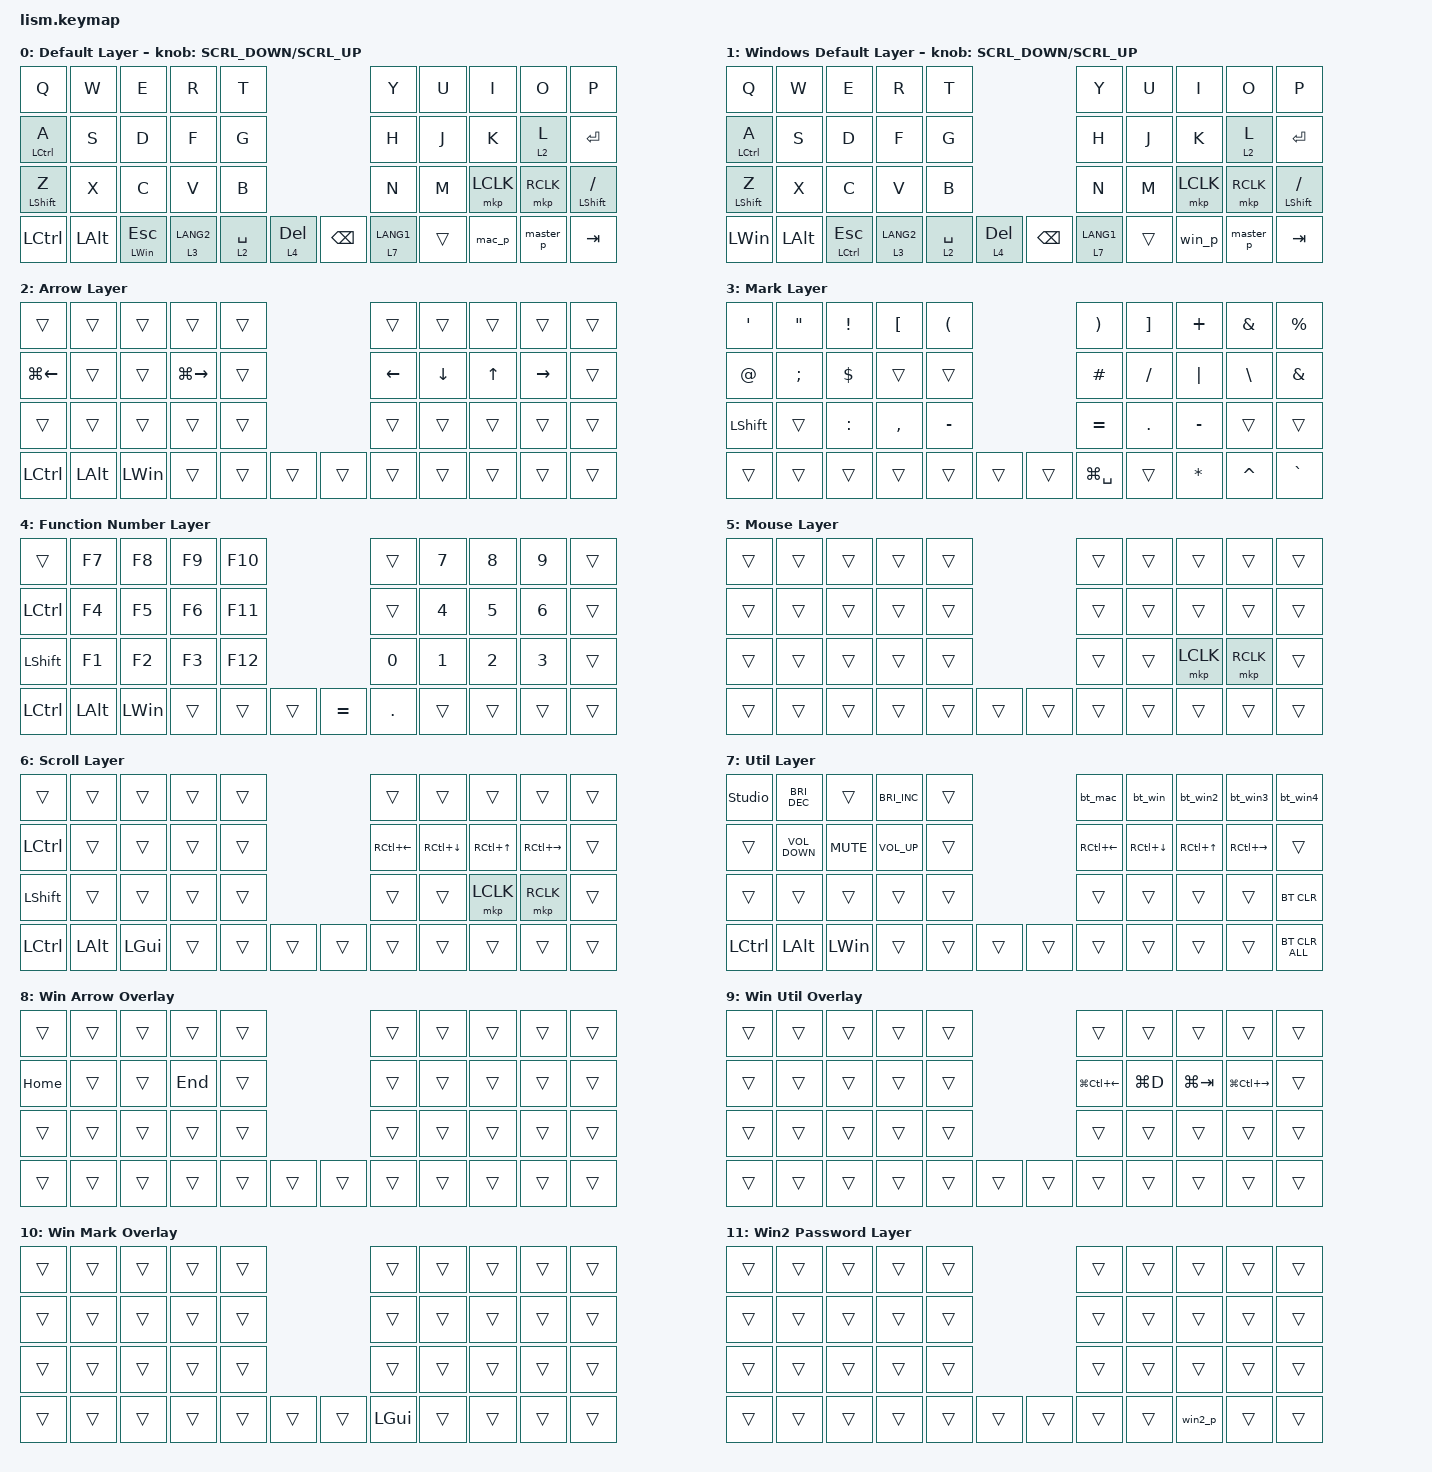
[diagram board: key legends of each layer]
#define ZMK_POINTING_DEFAULT_MOVE_VAL 400
#define ZMK_POINTING_DEFAULT_SCRL_VAL 200

#include <dt-bindings/zmk/mouse.h>
#include <behaviors.dtsi>
#include <dt-bindings/zmk/bt.h>
#include <dt-bindings/zmk/keys.h>
#include <dt-bindings/zmk/pointing.h>

#define DEFAULT_LAYER 0
#define WIN_DEFAULT_LAYER 1
#define ARROW_LAYER 2
#define MARK_LAYER 3
#define FUNCTION_NUMBER_LAYER 4
#define MOUSE_LAYER 5
#define SCROLL_LAYER 6
#define UTIL_LAYER 7
#define WIN_ARROW_OVERLAY 8
#define WIN_UTIL_OVERLAY 9
#define WIN_MARK_OVERLAY 10

&mt { flavor = "balanced"; };

&mmv { time-to-max-speed-ms = <40>; };

/ {
    conditional_layers {
        compatible = "zmk,conditional-layers";

        win_arrow_overlay {
            if-layers = <1 2>;
            then-layer = <8>;
        };

        win_util_overlay {
            if-layers = <1 7>;
            then-layer = <9>;
        };

        win_mark_overlay {
            if-layers = <1 3>;
            then-layer = <10>;
        };
    };

    combos {
        compatible = "zmk,combos";
        layers = <0 1 2 3 4 5 6 7 8 9 10 11>;

        tab {
            bindings = <&kp TAB>;
            key-positions = <11 12>;
        };

        shift_tab {
            bindings = <&kp LS(TAB)>;
            key-positions = <1 2>;
        };

        minus {
            bindings = <&kp MINUS>;
            key-positions = <2 3>;
        };

        plus {
            bindings = <&kp PLUS>;
            key-positions = <6 7>;
        };

        asterisk {
            bindings = <&kp ASTERISK>;
            key-positions = <12 13>;
        };

        slash {
            bindings = <&kp SLASH>;
            key-positions = <16 17>;
        };

        homerow-click {
            bindings = <&kp LS(LC(LG(SPACE)))>;
            key-positions = <14 15>;
        };

        homerow-scroll {
            bindings = <&kp LS(LC(LG(LA(SPACE))))>;
            key-positions = <4 5>;
        };

        amical {
            bindings = <&kp LS(LG(SPACE))>;
            key-positions = <24 25>;
        };
    };

    macros {
        emoji: emoji_macro {
            compatible = "zmk,behavior-macro";
            label = "EMOJI";
            #binding-cells = <0>;
            bindings =
                <&macro_press>,
                <&kp CAPSLOCK>,
                <&macro_tap>,
                <&kp E>,
                <&macro_release>,
                <&kp CAPSLOCK>;
        };

        to_layer_0: to_layer_0 {
            compatible = "zmk,behavior-macro-one-param";
            #binding-cells = <1>;
            bindings = <&to 0 &macro_param_1to1 &kp MACRO_PLACEHOLDER>;
            label = "TO_LAYER_0";
        };

        screenshot: screenshot {
            compatible = "zmk,behavior-macro";
            #binding-cells = <0>;
            bindings = <&kp LG(LS(NUMBER_5))>;
            label = "SCREENSHOT";
        };

        master_p: master_p {
            compatible = "zmk,behavior-macro";
            #binding-cells = <0>;
            bindings = <&kp J &kp F &kp J &kp F &kp H &kp G &kp H &kp G &kp UNDER &kp Y &kp U &kp H &kp G &kp O &kp UNDER &kp N0 &kp N9 &kp N0 &kp N7 &kp UNDER &kp N2 &kp N5 &kp N2 &kp N5>;
            label = "MASTER_P";
        };

        mac_p: mac_p {
            compatible = "zmk,behavior-macro";
            #binding-cells = <0>;
            bindings = <&kp J &kp F &kp J &kp F &kp H &kp G &kp H &kp G>;
            label = "MAC_P";
        };

        presentify: presentify {
            compatible = "zmk,behavior-macro";
            #binding-cells = <0>;
            bindings = <&kp LS(LA(LC(LG(O))))>;
            label = "PRESENTIFY";
        };

        browser_back: browser_back {
            compatible = "zmk,behavior-macro";
            #binding-cells = <0>;
            bindings = <&kp LG(LEFT)>;
            label = "BROWSER_BACK";
        };

        browser_next: browser_next {
            compatible = "zmk,behavior-macro";
            #binding-cells = <0>;
            bindings = <&kp LG(RIGHT)>;
            label = "BROWSER_NEXT";
        };

        bt_mac: bt_mac {
            compatible = "zmk,behavior-macro";
            #binding-cells = <0>;
            bindings = <&toggle_off 1 &toggle_off 11>, <&macro_wait_time 100>, <&bt BT_SEL 0>;

            label = "BT_MAC";
        };

        bt_win: bt_win {
            compatible = "zmk,behavior-macro";
            #binding-cells = <0>;
            bindings =
                <&toggle_off 1 &toggle_off 11>,
                <&macro_wait_time 100>,
                <&bt BT_SEL 1 &toggle_on 1>;

            label = "BT_WIN";
        };

        bt_win2: bt_win2 {
            compatible = "zmk,behavior-macro";
            #binding-cells = <0>;
            bindings =
                <&toggle_off 1 &toggle_off 11>,
                <&macro_wait_time 100>,
                <&bt BT_SEL 2 &toggle_on 1 &toggle_on 11>;

            label = "BT_WIN2";
        };

        bt_win3: bt_win3 {
            compatible = "zmk,behavior-macro";
            #binding-cells = <0>;
            bindings =
                <&toggle_off 1 &toggle_off 11>,
                <&macro_wait_time 100>,
                <&bt BT_SEL 3 &toggle_on 1>;

            label = "BT_WIN3";
        };

        bt_win4: bt_win4 {
            compatible = "zmk,behavior-macro";
            #binding-cells = <0>;
            bindings =
                <&toggle_off 1 &toggle_off 11>,
                <&macro_wait_time 100>,
                <&bt BT_SEL 4 &toggle_on 1>;

            label = "BT_WIN4";
        };

        win_p: win_p {
            compatible = "zmk,behavior-macro";
            #binding-cells = <0>;
            bindings = <&kp LS(A) &kp LS(D) &kp I &kp LS(X) &kp I &kp UNDER &kp N1 &kp N0 &kp N1 &kp N2 &kp AT &kp N2 &kp N2>;
            label = "WIN_P";
        };

        win2_p: win2_p {
            compatible = "zmk,behavior-macro";
            #binding-cells = <0>;
            bindings = <&kp J &kp F &kp J &kp F &kp H &kp G &kp H &kp G &kp N0 &kp N9 &kp N0 &kp N7>;
            label = "WIN2_P";
        };
    };

    behaviors {
        encoder_msc: sensor_rotate_msc {
            compatible = "zmk,behavior-sensor-rotate-var";
            #sensor-binding-cells = <2>;
            bindings = <&msc>, <&msc>;

            tap-ms = <20>;
        };

        encoder_kp: sensor_rotate_kp {
            compatible = "zmk,behavior-sensor-rotate-var";
            #sensor-binding-cells = <2>;
            bindings = <&kp>, <&kp>;
        };

        lt_to_layer_0: lt_to_layer_0 {
            compatible = "zmk,behavior-hold-tap";
            label = "LAYER_TAP_TO_0";
            bindings = <&mo>, <&to_layer_0>;

            #binding-cells = <2>;
            tapping-term-ms = <200>;
        };

        double_shift: double_shift {
            compatible = "zmk,behavior-tap-dance";
            label = "DOUBLE_SHIFT";
            #binding-cells = <0>;
            tapping-term-ms = <200>;
            bindings = <&kp Z>, <&kp Z>;
        };

        layer3_backspace_td: layer3_backspace_td {
            compatible = "zmk,behavior-tap-dance";
            label = "LAYER3_BACKSPACE_TD";
            #binding-cells = <0>;
            tapping-term-ms = <200>;
            bindings = <&mo 4>, <&kp BACKSPACE>;
        };

        tab_enter_td: tab_enter_td {
            compatible = "zmk,behavior-tap-dance";
            label = "TAB_ENTER_TD";
            #binding-cells = <0>;
            tapping-term-ms = <200>;
            bindings = <&kp TAB>, <&kp ENTER>;
        };

        toggle_on: toggle_layer_on {
            compatible = "zmk,behavior-toggle-layer";
            #binding-cells = <1>;
            display-name = "Toggle Layer On";
        };

        toggle_off: toggle_layer_off {
            compatible = "zmk,behavior-toggle-layer";
            #binding-cells = <1>;
            display-name = "Toggle Layer Off";
            toggle-mode = "off";
        };
    };

    keymap {
        compatible = "zmk,keymap";

        default_layer {
            display-name = "Default Layer";
            bindings = <
&kp Q             &kp W         &kp E             &kp R        &kp T                                       &kp Y        &kp U   &kp I      &kp O      &kp P
&mt LCTRL A       &kp S         &kp D             &kp F        &kp G                                       &kp H        &kp J   &kp K      &lt 2 L    &kp RETURN
&mt LEFT_SHIFT Z  &kp X         &kp C             &kp V        &kp B                                       &kp N        &kp M   &mkp LCLK  &mkp RCLK  &mt LEFT_SHIFT SLASH
&kp LCTRL         &kp LEFT_ALT  &mt LEFT_WIN ESC  &lt 3 LANG2  &lt 2 SPACE  &lt 4 DELETE    &kp BACKSPACE  &lt 7 LANG1  &trans  &mac_p     &master_p  &kp TAB
            >;

            sensor-bindings = <&encoder_msc SCRL_DOWN SCRL_UP>;
        };

        win_default_layer {
            display-name = "Windows Default Layer";
            bindings = <
&kp Q             &kp W         &kp E          &kp R        &kp T                                        &kp Y         &kp U   &kp I      &kp O      &kp P
&mt LCTRL A       &kp S         &kp D          &kp F        &kp G                                        &kp H         &kp J   &kp K      &lt 2 L    &kp RETURN
&mt LEFT_SHIFT Z  &kp X         &kp C          &kp V        &kp B                                        &kp N         &kp M   &mkp LCLK  &mkp RCLK  &mt LEFT_SHIFT SLASH
&kp LWIN          &kp LEFT_ALT  &mt LCTRL ESC  &lt 3 LANG2  &lt 2 SPACE  &lt 4 DELETE    &kp BACKSPACE  &lt 7 LANG1  &trans   &win_p     &master_p  &kp TAB
            >;

            sensor-bindings = <&encoder_msc SCRL_DOWN SCRL_UP>;
        };

        arrow_layer {
            display-name = "Arrow Layer";
            bindings = <
&trans        &trans        &trans        &trans         &trans                    &trans    &trans    &trans  &trans     &trans
&kp LG(LEFT)  &trans        &trans        &kp LG(RIGHT)  &trans                    &kp LEFT  &kp DOWN  &kp UP  &kp RIGHT  &trans
&trans        &trans        &trans        &trans         &trans                    &trans    &trans    &trans  &trans     &trans
&kp LCTRL     &kp LEFT_ALT  &kp LEFT_WIN  &trans         &trans  &trans    &trans  &trans    &trans    &trans  &trans     &trans
            >;
        };

        mark_layer {
            display-name = "Mark Layer";
            bindings = <
&kp SQT         &kp DOUBLE_QUOTES  &kp EXCLAMATION  &kp LEFT_BRACKET  &kp LEFT_PARENTHESIS                    &kp RIGHT_PARENTHESIS  &kp RIGHT_BRACKET  &kp PLUS      &kp AMPERSAND  &kp PERCENT
&kp AT_SIGN     &kp SEMICOLON      &kp DOLLAR       &trans            &trans                                  &kp HASH               &kp SLASH          &kp PIPE      &kp BACKSLASH  &kp AMPERSAND
&kp LEFT_SHIFT  &trans             &kp COLON        &kp COMMA         &kp MINUS                               &kp EQUAL              &kp PERIOD         &kp MINUS     &trans         &trans
&trans          &trans             &trans           &trans            &trans                &trans    &trans  &kp LG(SPACE)          &trans             &kp ASTERISK  &kp CARET      &kp GRAVE
            >;
        };

        function_number_layer {
            display-name = "Function Number Layer";
            bindings = <
&trans     &kp F7        &kp F8        &kp F9  &kp F10                       &trans   &kp N7  &kp N8  &kp N9  &trans
&kp LCTRL  &kp F4        &kp F5        &kp F6  &kp F11                       &trans   &kp N4  &kp N5  &kp N6  &trans
&kp LSHFT  &kp F1        &kp F2        &kp F3  &kp F12                       &kp N0   &kp N1  &kp N2  &kp N3  &trans
&kp LCTRL  &kp LEFT_ALT  &kp LEFT_WIN  &trans  &trans   &trans    &kp EQUAL  &kp DOT  &trans  &trans  &trans  &trans
            >;
        };

        mouse_layer {
            display-name = "Mouse Layer";
            bindings = <
&trans  &trans  &trans  &trans  &trans                    &trans  &trans  &trans     &trans     &trans
&trans  &trans  &trans  &trans  &trans                    &trans  &trans  &trans     &trans     &trans
&trans  &trans  &trans  &trans  &trans                    &trans  &trans  &mkp LCLK  &mkp RCLK  &trans
&trans  &trans  &trans  &trans  &trans  &trans    &trans  &trans  &trans  &trans     &trans     &trans
            >;
        };

        scroll_layer {
            display-name = "Scroll Layer";
            bindings = <
&trans     &trans    &trans    &trans  &trans                    &trans              &trans        &trans            &trans         &trans
&kp LCTRL  &trans    &trans    &trans  &trans                    &kp RC(LEFT_ARROW)  &kp RC(DOWN)  &kp RC(UP_ARROW)  &kp RC(RIGHT)  &trans
&kp LSHFT  &trans    &trans    &trans  &trans                    &trans              &trans        &mkp LCLK         &mkp RCLK      &trans
&kp LCTRL  &kp LALT  &kp LGUI  &trans  &trans  &trans    &trans  &trans              &trans        &trans            &trans         &trans
            >;
        };

        util_layer {
            display-name = "Util Layer";
            bindings = <
&studio_unlock  &kp C_BRIGHTNESS_DEC  &trans        &kp C_BRIGHTNESS_INC  &trans                    &bt_mac             &bt_win             &bt_win2          &bt_win3       &bt_win4
&trans          &kp C_VOLUME_DOWN     &kp K_MUTE    &kp C_VOLUME_UP       &trans                    &kp RC(LEFT_ARROW)  &kp RC(DOWN_ARROW)  &kp RC(UP_ARROW)  &kp RC(RIGHT)  &trans
&trans          &trans                &trans        &trans                &trans                    &trans              &trans              &trans            &trans         &bt BT_CLR
&kp LCTRL       &kp LEFT_ALT          &kp LEFT_WIN  &trans                &trans  &trans    &trans  &trans              &trans              &trans            &trans         &bt BT_CLR_ALL
            >;
        };

        win_arrow_overlay {
            display-name = "Win Arrow Overlay";
            bindings = <
&trans    &trans  &trans  &trans   &trans                    &trans  &trans  &trans  &trans  &trans
&kp HOME  &trans  &trans  &kp END  &trans                    &trans  &trans  &trans  &trans  &trans
&trans    &trans  &trans  &trans   &trans                    &trans  &trans  &trans  &trans  &trans
&trans    &trans  &trans  &trans   &trans  &trans    &trans  &trans  &trans  &trans  &trans  &trans
            >;
        };

        win_util_overlay {
            display-name = "Win Util Overlay";
            bindings = <
&trans  &trans  &trans  &trans  &trans                    &trans            &trans     &trans       &trans              &trans
&trans  &trans  &trans  &trans  &trans                    &kp LG(LC(LEFT))  &kp LG(D)  &kp LG(TAB)  &kp LG(LC(RIGHT))   &trans
&trans  &trans  &trans  &trans  &trans                    &trans            &trans     &trans       &trans              &trans
&trans  &trans  &trans  &trans  &trans  &trans    &trans  &trans            &trans     &trans       &trans              &trans
            >;
        };

        win_mark_overlay {
            display-name = "Win Mark Overlay";
            bindings = <
&trans  &trans  &trans  &trans  &trans                    &trans     &trans  &trans  &trans  &trans
&trans  &trans  &trans  &trans  &trans                    &trans     &trans  &trans  &trans  &trans
&trans  &trans  &trans  &trans  &trans                    &trans     &trans  &trans  &trans  &trans
&trans  &trans  &trans  &trans  &trans  &trans    &trans  &kp LGUI   &trans  &trans  &trans  &trans
            >;
        };

        win2_pw_layer {
            display-name = "Win2 Password Layer";
            bindings = <
&trans  &trans  &trans  &trans  &trans                    &trans  &trans  &trans   &trans  &trans
&trans  &trans  &trans  &trans  &trans                    &trans  &trans  &trans   &trans  &trans
&trans  &trans  &trans  &trans  &trans                    &trans  &trans  &trans   &trans  &trans
&trans  &trans  &trans  &trans  &trans  &trans    &trans  &trans  &trans  &win2_p  &trans  &trans
            >;
        };
    };
};
